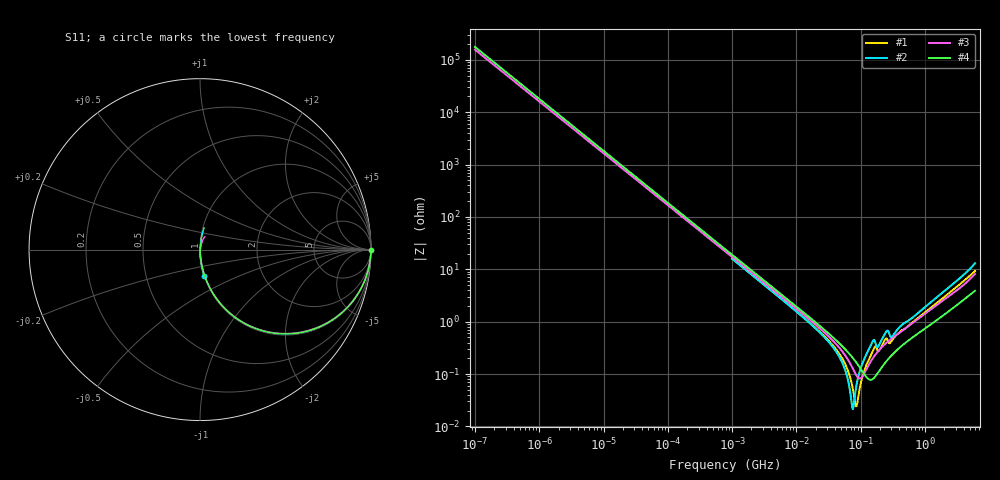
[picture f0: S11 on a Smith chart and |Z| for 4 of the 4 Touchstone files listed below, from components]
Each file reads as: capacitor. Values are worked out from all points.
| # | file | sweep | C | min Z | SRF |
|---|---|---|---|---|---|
| 1 | 10nF_GRM1555CYA103GE01.s2p | 1 MHz to 6 GHz | 9.86 nF | 24.1 mohm | 85.56 MHz |
| 2 | 10nf_GRM2165C2A103GA01.s2p | 1 MHz to 6 GHz | 10 nF | 21.4 mohm | 75.54 MHz |
| 3 | CL05B103KB5NNN_Series_Precise_DC0V_25degC.s2p | 100 Hz to 6 GHz | 10.1 nF | 81.8 mohm | 98.35 MHz |
| 4 | GRM011R60G103KE01_DC0V_25degC.s2p | 100 Hz to 6 GHz | 8.97 nF | 77.6 mohm | 145.5 MHz |
